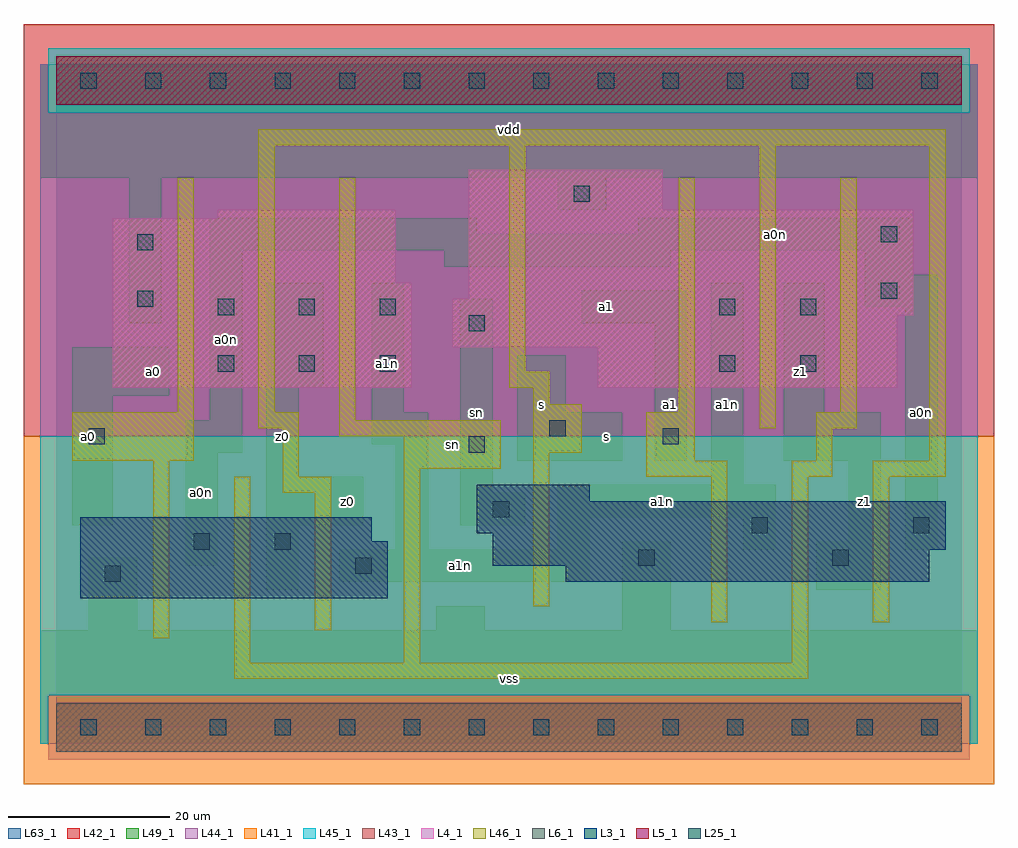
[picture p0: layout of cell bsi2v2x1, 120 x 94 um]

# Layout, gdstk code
import gdstk
lib = gdstk.Library(unit=1e-6, precision=1e-09)
def R(c, l, rs):  # rectangles x0, y0, x1, y1
    for r in rs: c.add(gdstk.rectangle(r[:2], r[2:], *l))
def A(c, l, x, y, w, h, nx, ny, dx, dy):  # array of equal rectangles
    R(c, l, [(x+i*dx, y+j*dy, x+i*dx+w, y+j*dy+h) for i in range(nx) for j in range(ny)])
L3_1 = (3, 1)
L4_1 = (4, 1)
L5_1 = (5, 1)
L6_1 = (6, 1)
L25_1 = (25, 1)
L41_1 = (41, 1)
L42_1 = (42, 1)
L43_1 = (43, 1)
L44_1 = (44, 1)
L45_1 = (45, 1)
L46_1 = (46, 1)
L49_1 = (49, 1)
L63_1 = (63, 1)

bsi2v2x1 = lib.new_cell('bsi2v2x1')
R(bsi2v2x1, L3_1, [(3,16,41,23), (63,18,108,20), (54,20,108,22), (54,22,110,24), (3,23,39,26), (52,24,110,28), (52,28,66,30)])
R(bsi2v2x1, L4_1, [(7,42,44,55), (67,42,104,47), (49,47,104,51), (49,51,106,53), (51,53,106,64), (7,55,42,63), (20,63,42,64), (51,64,75,69)])
R(bsi2v2x1, L5_1, [(0,77,112,83)])
R(bsi2v2x1, L6_1, [(0,-3,112,3), (0,-3,112,3)])
A(bsi2v2x1, L25_1, 3, -1, 2, 2, 14, 2, 8, 80)
A(bsi2v2x1, L25_1, 20, 44, 2, 2, 3, 2, 10, 7)
R(bsi2v2x1, L25_1, [(6,18,8,20), (37,19,39,21), (72,20,74,22), (96,20,98,22), (17,22,19,24), (27,22,29,24), (86,24,88,26), (106,24,108,26), (54,26,56,28), (51,34,53,36), (4,35,6,37), (75,35,77,37), (61,36,63,38), (82,44,84,46), (92,44,94,46), (51,49,53,51), (82,51,84,53), (92,51,94,53), (10,52,12,54), (102,53,104,55), (10,59,12,61), (102,60,104,62), (64,65,66,67)])
R(bsi2v2x1, L41_1, [(-4,-7,116,36)])
R(bsi2v2x1, L42_1, [(-4,36,116,87)])
R(bsi2v2x1, L43_1, [(0,-3,112,3), (3,16,41,23), (63,18,108,20), (54,20,108,22), (54,22,110,24), (3,23,39,26), (52,24,110,28), (52,28,66,30), (7,42,44,55), (67,42,104,47), (49,47,104,51), (49,51,106,53), (51,53,106,64), (7,55,42,63), (20,63,42,64), (51,64,75,69), (0,77,112,83)])
R(bsi2v2x1, L44_1, [(-1,-4,113,4), (-2,36,114,76), (-2,76,-1,82), (113,76,114,82)])
R(bsi2v2x1, L45_1, [(-2,-2,-1,4), (113,-2,114,4), (-2,4,114,36), (-1,76,113,84)])
R(bsi2v2x1, L46_1, [(22,6,93,8), (22,8,24,31), (43,8,45,32), (91,8,93,31), (12,11,14,33), (32,12,34,29), (81,13,83,31), (101,13,103,31), (59,15,61,34), (28,29,34,31), (28,31,30,37), (73,31,83,33), (91,31,96,33), (101,31,110,33), (43,32,55,36), (2,33,17,39), (73,33,79,39), (94,33,96,37), (108,33,110,72), (59,34,65,40), (35,36,55,38), (25,37,30,39), (87,37,89,72), (94,37,99,39), (35,38,37,68), (15,39,17,68), (25,39,27,72), (77,39,79,68), (97,39,99,68), (59,40,61,42), (56,42,61,44), (56,44,58,72), (25,72,110,74)])
R(bsi2v2x1, L49_1, [(-2,-2,114,12), (4,12,10,21), (47,12,53,15), (70,12,76,23), (26,17,30,25), (94,17,102,23), (35,18,66,22), (16,20,20,34), (42,22,46,35), (62,22,66,26), (85,22,89,26), (105,22,109,52), (98,23,102,33), (2,25,7,41), (26,25,38,31), (50,25,58,29), (62,26,89,30), (50,29,54,53), (81,30,85,55), (26,31,30,42), (57,33,70,39), (74,33,78,50), (90,33,102,39), (16,34,23,38), (39,35,46,39), (19,38,23,59), (39,39,43,55), (57,39,63,46), (90,39,95,55), (2,41,14,47), (26,42,33,55), (9,50,13,68), (65,50,78,54), (100,52,109,56), (100,56,106,59), (48,57,76,59), (19,59,106,61), (19,61,52,63), (72,61,106,63), (62,64,68,68), (-2,68,114,82)])
R(bsi2v2x1, L63_1, [(0,0,112,80)])
bsi2v2x1.add(gdstk.Label('sn', (49,35), layer=46, texttype=1))
bsi2v2x1.add(gdstk.Label('a0n', (18,29), layer=49, texttype=1))
bsi2v2x1.add(gdstk.Label('a0', (4,36), layer=49, texttype=1))
bsi2v2x1.add(gdstk.Label('a0', (12,44), layer=49, texttype=1))
bsi2v2x1.add(gdstk.Label('z0', (36,28), layer=49, texttype=1))
bsi2v2x1.add(gdstk.Label('z0', (28,36), layer=49, texttype=1))
bsi2v2x1.add(gdstk.Label('a1n', (41,45), layer=49, texttype=1))
bsi2v2x1.add(gdstk.Label('a0n', (21,48), layer=49, texttype=1))
bsi2v2x1.add(gdstk.Label('vss', (56,6), layer=49, texttype=1))
bsi2v2x1.add(gdstk.Label('a1n', (50,20), layer=49, texttype=1))
bsi2v2x1.add(gdstk.Label('s', (60,40), layer=49, texttype=1))
bsi2v2x1.add(gdstk.Label('sn', (52,39), layer=49, texttype=1))
bsi2v2x1.add(gdstk.Label('vdd', (56,74), layer=49, texttype=1))
bsi2v2x1.add(gdstk.Label('a1n', (75,28), layer=49, texttype=1))
bsi2v2x1.add(gdstk.Label('s', (68,36), layer=49, texttype=1))
bsi2v2x1.add(gdstk.Label('a1', (76,40), layer=49, texttype=1))
bsi2v2x1.add(gdstk.Label('a1', (68,52), layer=49, texttype=1))
bsi2v2x1.add(gdstk.Label('a1n', (83,40), layer=49, texttype=1))
bsi2v2x1.add(gdstk.Label('z1', (100,28), layer=49, texttype=1))
bsi2v2x1.add(gdstk.Label('z1', (92,44), layer=49, texttype=1))
bsi2v2x1.add(gdstk.Label('a0n', (107,39), layer=49, texttype=1))
bsi2v2x1.add(gdstk.Label('a0n', (89,61), layer=49, texttype=1))

lib.write_gds('bsi2v2x1.gds')
